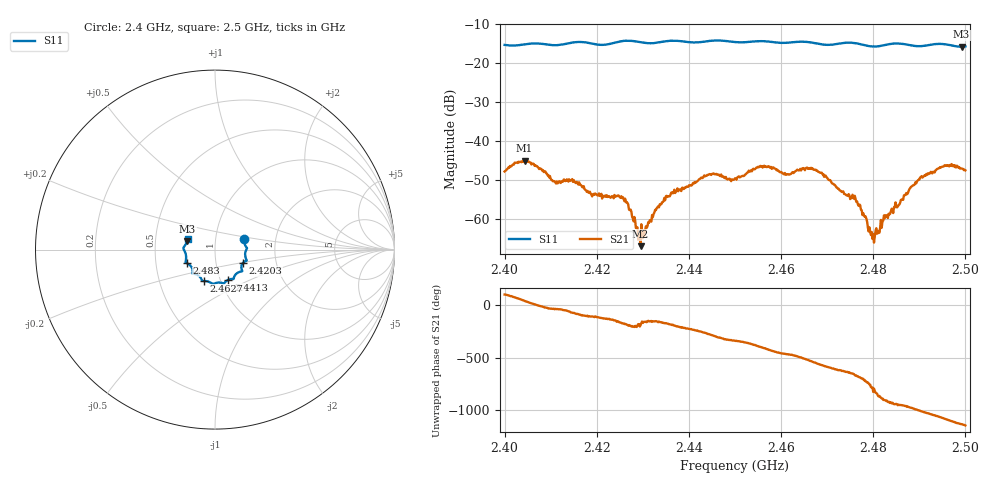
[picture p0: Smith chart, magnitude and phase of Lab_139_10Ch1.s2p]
# Hz S RI R 50
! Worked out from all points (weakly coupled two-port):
!   601 points, 2.4 GHz to 2.5 GHz, reference 50 ohm
!   highest |S21| = -45.03 dB at 2.4043 GHz (marker M1); lowest = -66.9 dB at 2.4295 GHz (marker M2)
!   lowest |S11| = -15.8 dB at 2.4992 GHz (marker M3), VSWR 1.39, Z = 36.4 + j3.55 ohm
!   |S11| at or under -10 dB: start of sweep to end of sweep
!   S12 and S22 are empty: the file has one direction only
!   S11 on the Smith chart (normalised r, x): 2.4 GHz: 1.37, +0.16; 2.4203 GHz: 1.35, -0.21; 2.4413 GHz: 1.09, -0.38; 2.4627 GHz: 0.83, -0.30; 2.483 GHz: 0.72, -0.11; 2.5 GHz: 0.73, +0.09
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2.4e9  0.1611 0.0571  -0.000569 0.00404  0 0  0 0
2.404333e9  0.1731 0.016  0.0044 0.00347  0 0  0 0
2.411e9  0.1682 -0.0207  0.00234 -0.00181  0 0  0 0
2.416667e9  0.1759 -0.0614  -0.000457 -0.00266  0 0  0 0
2.420333e9  0.1551 -0.0743  -0.00096 -0.00178  0 0  0 0
2.425833e9  0.1515 -0.1186  -0.00181 -0.000115  0 0  0 0
2.4295e9  0.137 -0.1246  -0.00044 9.45e-05  0 0  0 0
2.433333e9  0.108 -0.1483  -0.00141 -0.000388  0 0  0 0
2.441333e9  0.0746 -0.1681  -0.00143 0.00263  0 0  0 0
2.444833e9  0.0527 -0.1858  0.00101 0.00354  0 0  0 0
2.45e9  0.0291 -0.1838  0.00315 0.00109  0 0  0 0
2.455333e9  -0.00906 -0.1908  0.00379 -0.00276  0 0  0 0
2.462667e9  -0.0619 -0.1747  -0.00187 -0.00341  0 0  0 0
2.466667e9  -0.0744 -0.1674  -0.00439 -0.000243  0 0  0 0
2.476e9  -0.1251 -0.1301  0.00118 0.0016  0 0  0 0
2.479833e9  -0.1306 -0.0978  0.000253 -0.000496  0 0  0 0
2.483e9  -0.1548 -0.0765  -0.0011 0.000188  0 0  0 0
2.483333e9  -0.157 -0.0756  -0.00108 0.000467  0 0  0 0
2.490667e9  -0.1644 -0.0207  0.0013 0.00315  0 0  0 0
2.495667e9  -0.1735 0.0146  0.00484 -0.000277  0 0  0 0
2.499167e9  -0.1551 0.0474  0.00275 -0.0035  0 0  0 0
2.5e9  -0.1528 0.0585  0.00182 -0.00381  0 0  0 0
